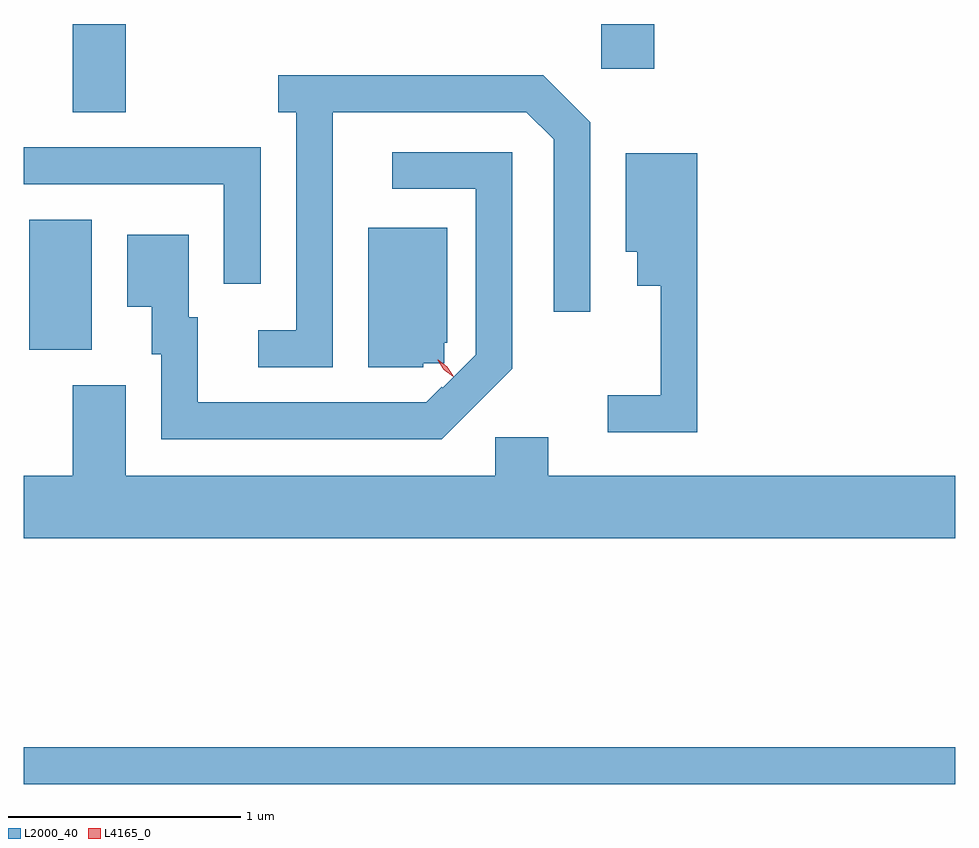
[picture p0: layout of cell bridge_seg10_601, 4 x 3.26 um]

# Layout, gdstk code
import gdstk
lib = gdstk.Library(unit=1e-6, precision=1e-09)
def R(c, l, rs):  # rectangles x0, y0, x1, y1
    for r in rs: c.add(gdstk.rectangle(r[:2], r[2:], *l))
def P(c, l, *ps):  # polygons
    for p in ps: c.add(gdstk.Polygon(p, *l))
L2000_40 = (2000, 40)
L4165_0 = (4165, 0)

bridge_seg10_601 = lib.new_cell('bridge_seg10_601')
R(bridge_seg10_601, L2000_40, [(657.351,2101.761,661.351,2101.919), (657.376,2103.626,657.644,2104.184), (657.561,2104.646,657.789,2105.024), (659.831,2104.831,660.059,2105.024)])
P(bridge_seg10_601, L2000_40, [(658.679,2104.646),(659.509,2104.646),(659.626,2104.529),(659.626,2103.788),(659.784,2103.788),(659.784,2104.602),(659.582,2104.804),(658.443,2104.804),(658.443,2104.646),(658.521,2104.646),(658.521,2103.709),(658.358,2103.709),(658.358,2103.551),(658.679,2103.551)],
  [(658.369,2104.494),(657.351,2104.494),(657.351,2104.336),(658.211,2104.336),(658.211,2103.908),(658.369,2103.908)],
  [(659.449,2103.544),(659.449,2104.474),(658.933,2104.474),(658.933,2104.316),(659.291,2104.316),(659.291,2103.603),(659.15,2103.462),(659.146,2103.466),(659.079,2103.399),(658.099,2103.399),(658.099,2103.764),(658.059,2103.764),(658.059,2104.119),(657.796,2104.119),(657.796,2103.811),(657.901,2103.811),(657.901,2103.606),(657.941,2103.606),(657.941,2103.241),(659.147,2103.241)],
  [(660.244,2104.469),(659.936,2104.469),(659.936,2104.046),(659.986,2104.046),(659.986,2103.901),(660.086,2103.901),(660.086,2103.429),(659.858,2103.429),(659.858,2103.271),(660.244,2103.271)],
  [(659.066,2103.568),(659.156,2103.568),(659.156,2103.655),(659.169,2103.655),(659.169,2103.755),(659.17,2103.755),(659.17,2104.149),(658.831,2104.149),(658.831,2103.551),(659.066,2103.551)],
  [(661.351,2103.084),(659.604,2103.084),(659.604,2103.249),(659.376,2103.249),(659.376,2103.084),(657.789,2103.084),(657.789,2103.474),(657.561,2103.474),(657.561,2103.084),(657.351,2103.084),(657.351,2102.816),(661.351,2102.816)])
P(bridge_seg10_601, L4165_0, [(659.194,2103.513),(659.156,2103.539),(659.131,2103.579),(659.131,2103.579),(659.132,2103.579),(659.17,2103.553),(659.195,2103.514),(659.195,2103.513)],
  [(659.195,2103.51),(659.155,2103.539),(659.129,2103.581),(659.129,2103.582),(659.13,2103.582),(659.169,2103.552),(659.196,2103.511),(659.196,2103.51)])

lib.write_gds('bridge_seg10_601.gds')
